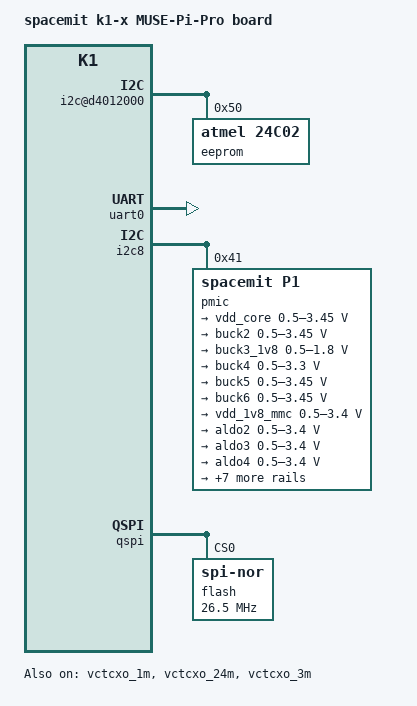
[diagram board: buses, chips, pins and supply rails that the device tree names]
// SPDX-License-Identifier: GPL-2.0-or-later OR MIT
/*
 * Copyright (C) 2026 RISCstar Ltd.
 */

#include "k1.dtsi"
#include "binman.dtsi"

/ {
	model = "spacemit k1-x MUSE-Pi-Pro board";
	compatible = "spacemit,muse-pi-pro", "spacemit,k1";

	aliases {
		console = &uart0;
		serial0 = &uart0;
	};

	chosen {
		stdout-path = "serial0:115200n8";
	};
};

&vctcxo_1m {
	status = "okay";
};

&vctcxo_24m {
	status = "okay";
};

&vctcxo_3m {
	status = "okay";
};

&osc_32k {
	status = "okay";
};

&soc {
	system-controller@d4050000 {
		status = "okay";
	};
	clock-controller@d4090000 {
		status = "okay";
	};
	system-controller@d4282800 {
		status = "okay";
	};
	system-controller@d4015000 {
		clocks = <&osc_32k>, <&vctcxo_1m>, <&vctcxo_3m>,
			 <&vctcxo_24m>, <&syscon_mpmu CLK_PLL1_31P5>,
			 <&pll CLK_PLL1_D4>;
		clock-names = "osc", "vctcxo_1m", "vctcxo_3m",
			      "vctcxo_24m", "pll1_d78_31p5", "pll1_d4";
		status = "okay";
	};

	i2c@d4012000 {		/* i2c2 */
		status = "okay";
		eeprom: eeprom {
			compatible = "atmel,24c02";
			reg = <0x50>;
			status = "okay";
		};
	};

	reset-controller@d4050000 {
		status = "okay";
	};
};

&uart0 {
	status = "okay";
};

&i2c8 {
	status = "okay";
	pmic@41 {
		compatible = "spacemit,p1";
		reg = <0x41>;
		status = "okay";

		regulators {
			buck1 {
				regulator-name = "vdd_core";
				regulator-min-microvolt = <500000>;
				regulator-max-microvolt = <3450000>;
				regulator-ramp-delay = <5000>;
				regulator-always-on;
			};

			buck2 {
				regulator-min-microvolt = <500000>;
				regulator-max-microvolt = <3450000>;
				regulator-ramp-delay = <5000>;
				regulator-always-on;
			};

			buck3_1v8: buck3 {
				regulator-name = "vdd_1v8";
				regulator-min-microvolt = <500000>;
				regulator-max-microvolt = <1800000>;
				regulator-ramp-delay = <5000>;
				regulator-always-on;
			};

			buck4 {
				regulator-min-microvolt = <500000>;
				regulator-max-microvolt = <3300000>;
				regulator-ramp-delay = <5000>;
				regulator-always-on;
			};

			buck5 {
				regulator-min-microvolt = <500000>;
				regulator-max-microvolt = <3450000>;
				regulator-ramp-delay = <5000>;
				regulator-always-on;
			};

			buck6 {
				regulator-min-microvolt = <500000>;
				regulator-max-microvolt = <3450000>;
				regulator-ramp-delay = <5000>;
				regulator-always-on;
			};

			aldo1 {
				regulator-name = "vdd_1v8_mmc";
				regulator-min-microvolt = <500000>;
				regulator-max-microvolt = <3400000>;
				regulator-boot-on;
			};

			aldo2 {
				regulator-min-microvolt = <500000>;
				regulator-max-microvolt = <3400000>;
			};

			aldo3 {
				regulator-min-microvolt = <500000>;
				regulator-max-microvolt = <3400000>;
			};

			aldo4 {
				regulator-min-microvolt = <500000>;
				regulator-max-microvolt = <3400000>;
			};

			dldo1 {
				regulator-min-microvolt = <500000>;
				regulator-max-microvolt = <3400000>;
			};

			dldo2 {
				regulator-min-microvolt = <500000>;
				regulator-max-microvolt = <3400000>;
			};

			dldo3 {
				regulator-min-microvolt = <500000>;
				regulator-max-microvolt = <3400000>;
			};

			dldo4 {
				regulator-min-microvolt = <500000>;
				regulator-max-microvolt = <3400000>;
			};

			dldo5 {
				regulator-min-microvolt = <500000>;
				regulator-max-microvolt = <3400000>;
			};

			dldo6 {
				regulator-min-microvolt = <500000>;
				regulator-max-microvolt = <3400000>;
			};

			dldo7 {
				regulator-min-microvolt = <500000>;
				regulator-max-microvolt = <3400000>;
			};
		};
	};
};

&qspi {
	status = "okay";

	flash@0 {
		compatible = "jedec,spi-nor";
		reg = <0>;
		spi-max-frequency = <26500000>;
		m25p,fast-read;
		broken-flash-reset;
		status = "okay";
	};
};
